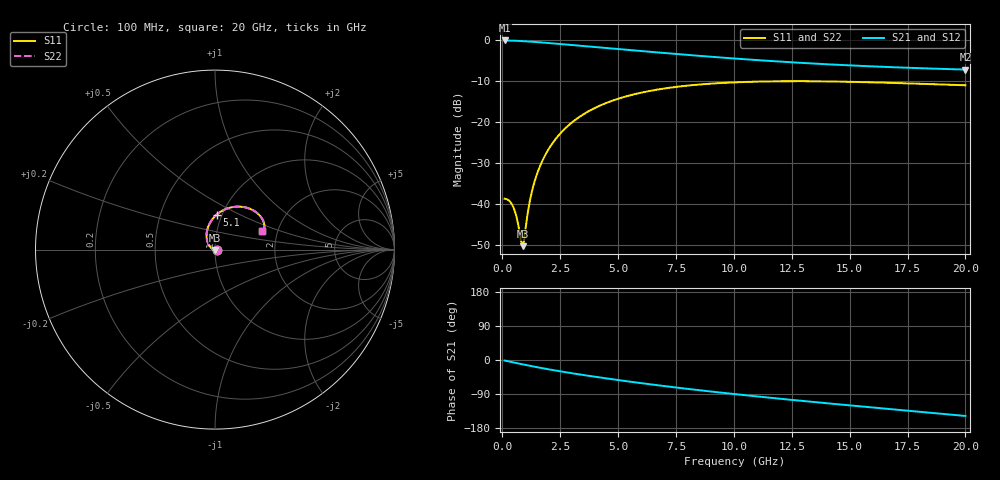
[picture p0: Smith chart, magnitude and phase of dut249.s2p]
! Touchstone file exported from HFSS 2024.1.0
!  File:  C:/UserFiles/LocalFiles/RDL_TSV_Batchsim/temp_RDL_TSV_249_1779456344.aedt
!  Generated:  09:43:32 PM May 22, 2026
!  Design:  RDL_TSV
!  Project:  temp_RDL_TSV_249_1779456344
!  Setup:  Setup1
!  Solution:  Sweep
! Variables:
!  dtsv = 7.99um
!  hbump = 3um
!  htsv = 75.38um
!  ldown = 380.81um
!  lrdl = 205.55um
!  p = 40
!  p1 = 53.38um
!  rhole = 10um
!  subl = 1964.63um
!  t = 450um
!  tdown = 2.43um
!  trdl = 2.69um
!  viad = 10um
!  wdown = 26.21um
!  wrdl = 27.86um
!  xbump = 18um
# GHz S MA R 50.000000
! Terminal data exported
! Port[1] = TM1_1_T1
! Port[2] = TM1_4_T1
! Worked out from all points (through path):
!   200 points, 100 MHz to 20 GHz, reference 50 ohm
!   highest |S21| = -0.10 dB at 100 MHz (marker M1); lowest = -7.2 dB at 20 GHz (marker M2)
!   group delay of S21, straight-line fit = 19.4 ps
!   lowest |S11| = -50.4 dB at 900 MHz (marker M3), VSWR 1.01, Z = 49.9 - j0.268 ohm
!   |S11| at or under -10 dB: start of sweep to end of sweep
!   |S22| runs from -50.4 to -10.1 dB; largest |S21 - S12| = 9.7e-15
!   S11 on the Smith chart (normalised r, x): 100 MHz: 1.02, -0.00; 5.1 GHz: 0.94, +0.38; 20 GHz: 1.66, +0.37
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0.1  0.01153 -1.7  0.988 -1.4  0.988 -1.4  0.01153 -1.7
! Gamma 0 0 0 0
! Port Impedance 50 0 50 0
0.3  0.01089 -8.0  0.9853 -4.1  0.9853 -4.1  0.0109 -8.0
0.5  0.008801 -18.9  0.981 -6.7  0.981 -6.7  0.008803 -19.0
0.6  0.007201 -27.1  0.9785 -8.0  0.9785 -8.0  0.007205 -27.1
0.7  0.00535 -39.8  0.9756 -9.3  0.9756 -9.3  0.005354 -39.8
0.8  0.00356 -65.4  0.9724 -10.5  0.9724 -10.5  0.003565 -65.3
0.9  0.003031 -117.7  0.969 -11.8  0.969 -11.8  0.003033 -117.6
1.1  0.007776 -177.1  0.9614 -14.2  0.9614 -14.2  0.00777 -177.1
1.2  0.0112 173.0  0.9573 -15.5  0.9573 -15.5  0.01119 173.0
1.4  0.01893 161.1  0.9485 -17.8  0.9485 -17.8  0.01892 161.2
1.7  0.03205 149.7  0.9343 -21.3  0.9343 -21.3  0.03203 149.7
2  0.04643 140.9  0.9194 -24.6  0.9194 -24.6  0.0464 140.9
2.4  0.06674 131.0  0.8991 -28.8  0.8991 -28.8  0.06671 131.0
2.9  0.0928 120.5  0.8738 -33.9  0.8738 -33.9  0.09276 120.5
3.5  0.1236 109.7  0.8443 -39.6  0.8443 -39.6  0.1235 109.7
4.2  0.1572 98.9  0.8113 -46.0  0.8113 -46.0  0.1572 98.9
5.1  0.1955 87.1  0.7712 -53.7  0.7712 -53.7  0.1954 87.1
6.8  0.2508 69.4  0.7019 -67.3  0.7019 -67.3  0.2507 69.4
10.1  0.3046 46.2  0.5925 -90.4  0.5925 -90.4  0.3045 46.2
13.4  0.3135 32.0  0.5167 -110.6  0.5167 -110.6  0.3134 32.0
16.7  0.3002 24.0  0.4673 -129.3  0.4673 -129.3  0.3001 24.0
20  0.2801 21.3  0.4355 -147.7  0.4355 -147.7  0.28 21.3
